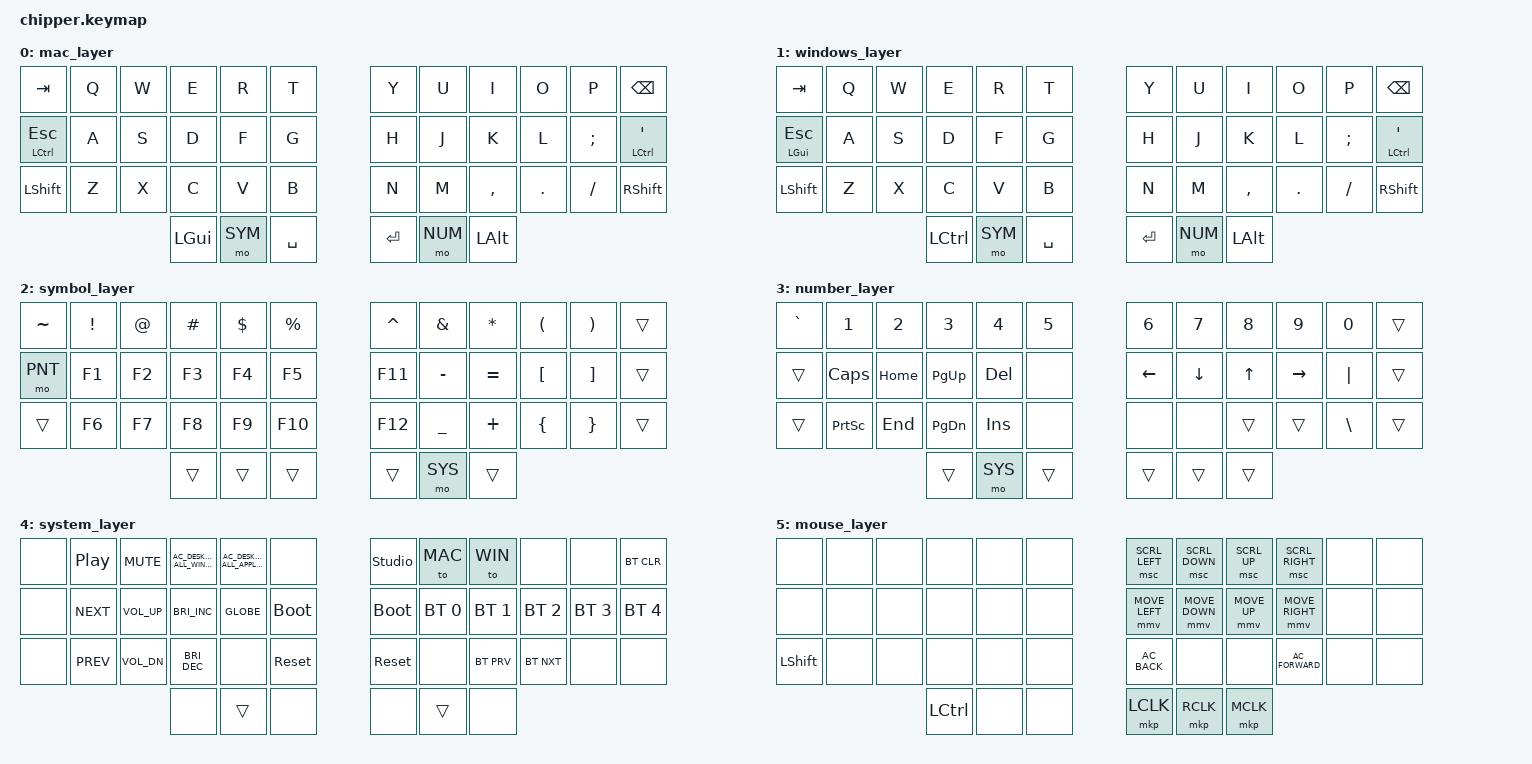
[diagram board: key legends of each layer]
#define ZMK_POINTING_DEFAULT_MOVE_VAL 1700 // default: 600
#define ZMK_POINTING_DEFAULT_SCRL_VAL 30  // default: 10

#include <behaviors.dtsi>
#include <dt-bindings/zmk/keys.h>
#include <dt-bindings/zmk/bt.h>        // bluetooth
#include <dt-bindings/zmk/pointing.h>  // mouse

#define MAC 0  // mac os
#define WIN 1  // windows os
#define SYM 2  // symbol & function
#define NUM 3  // number
#define SYS 4  // system such as media, bluetooth, bootloader, etc
#define PNT 5  // mouse

/ {
    combos {
        compatible = "zmk,combos";

        // One-handed SYS access. Combo-invoked behaviors always run on the
        // central half (combo.c hardcodes source = LOCAL), so reset/bootloader
        // must NOT be bound to combos directly. Instead the combo opens the
        // SYS layer (sticky, ~1s); the following real key press keeps its own
        // source, so &bootloader / &sys_reset run on the half it is pressed on:
        //    left : tap Q+C  then G = bootloader, B = sys_reset
        //    right: tap P+,  then H = bootloader, N = sys_reset
        // Right-half access still requires the halves to be paired; if pairing
        // is broken, use the physical RST button (double-tap) instead.

        combo_sys_left {  // Q + C
            timeout-ms = <50>;
            key-positions = <1 27>;
            bindings = <&sl SYS>;
            layers = <MAC WIN>;
            require-prior-idle-ms = <125>;
        };

        combo_sys_right {  // P + ,
            timeout-ms = <50>;
            key-positions = <10 32>;
            bindings = <&sl SYS>;
            layers = <MAC WIN>;
            require-prior-idle-ms = <125>;
        };
    };

    keymap {
        compatible = "zmk,keymap";

        mac_layer {  // MAC 0
            bindings = <
&kp TAB        &kp Q  &kp W  &kp E     &kp R    &kp T        &kp Y    &kp U    &kp I      &kp O    &kp P     &kp BSPC
&mt LCTRL ESC  &kp A  &kp S  &kp D     &kp F    &kp G        &kp H    &kp J    &kp K      &kp L    &kp SEMI  &mt LCTRL SQT
&kp LSHFT      &kp Z  &kp X  &kp C     &kp V    &kp B        &kp N    &kp M    &kp COMMA  &kp DOT  &kp FSLH  &kp RSHFT
                             &kp LGUI  &mo SYM  &kp SPACE    &kp RET  &mo NUM  &kp LALT
            >;
        };

        windows_layer {  // WIN 1
            bindings = <
&kp TAB       &kp Q  &kp W  &kp E      &kp R    &kp T        &kp Y    &kp U    &kp I      &kp O    &kp P     &kp BSPC
&mt LGUI ESC  &kp A  &kp S  &kp D      &kp F    &kp G        &kp H    &kp J    &kp K      &kp L    &kp SEMI  &mt LCTRL SQT
&kp LSHFT     &kp Z  &kp X  &kp C      &kp V    &kp B        &kp N    &kp M    &kp COMMA  &kp DOT  &kp FSLH  &kp RSHFT
                            &kp LCTRL  &mo SYM  &kp SPACE    &kp RET  &mo NUM  &kp LALT
            >;
        };

        symbol_layer {  // SYM 2
            bindings = <
&kp TILDE  &kp EXCL  &kp AT  &kp HASH  &kp DLLR  &kp PRCNT       &kp CARET  &kp AMPS   &kp ASTRK  &kp LPAR   &kp RPAR  &trans
&mo PNT    &kp F1    &kp F2  &kp F3    &kp F4    &kp F5          &kp F11    &kp MINUS  &kp EQUAL  &kp LBKT   &kp RBKT  &trans
&trans     &kp F6    &kp F7  &kp F8    &kp F9    &kp F10         &kp F12    &kp UNDER  &kp PLUS   &kp LBRC   &kp RBRC  &trans
                             &trans    &trans    &trans          &trans     &mo SYS    &trans
            >;
        };

        number_layer {  // NUM 3
            bindings = <
&kp GRAVE  &kp N1     &kp N2    &kp N3         &kp N4      &kp N5  &kp N6    &kp N7    &kp N8  &kp N9     &kp N0    &trans
&trans     &kp CAPS   &kp HOME  &kp PAGE_UP    &kp DELETE  &none   &kp LEFT  &kp DOWN  &kp UP  &kp RIGHT  &kp PIPE  &trans
&trans     &kp PSCRN  &kp END   &kp PAGE_DOWN  &kp INSERT  &none   &none     &none     &trans  &trans     &kp BSLH  &trans
                                &trans         &mo SYS     &trans  &trans    &trans    &trans
            >;
        };

        system_layer {  // SYS 4
            bindings = <
&none  &kp C_PP    &kp C_MUTE    &kp C_AC_DESKTOP_SHOW_ALL_WINDOWS  &kp C_AC_DESKTOP_SHOW_ALL_APPLICATIONS  &none        &studio_unlock  &to MAC       &to WIN       &none         &none         &bt BT_CLR
&none  &kp C_NEXT  &kp C_VOL_UP  &kp C_BRI_INC                      &kp GLOBE                               &bootloader  &bootloader     &bt BT_SEL 0  &bt BT_SEL 1  &bt BT_SEL 2  &bt BT_SEL 3  &bt BT_SEL 4
&none  &kp C_PREV  &kp C_VOL_DN  &kp C_BRI_DEC                      &none                                   &sys_reset   &sys_reset      &none         &bt BT_PRV    &bt BT_NXT    &none         &none
                                 &none                              &trans                                  &none        &none           &trans        &none
            >;
        };

        mouse_layer {  // PNT 5
            bindings = <
&none      &none  &none  &none      &none  &none    &msc SCRL_LEFT  &msc SCRL_DOWN  &msc SCRL_UP  &msc SCRL_RIGHT    &none  &none
&none      &none  &none  &none      &none  &none    &mmv MOVE_LEFT  &mmv MOVE_DOWN  &mmv MOVE_UP  &mmv MOVE_RIGHT    &none  &none
&kp LSHFT  &none  &none  &none      &none  &none    &kp C_AC_BACK   &none           &none         &kp C_AC_FORWARD   &none  &none
                         &kp LCTRL  &none  &none    &mkp LCLK       &mkp RCLK       &mkp MCLK
            >;
        };

        extra1 {
            status = "reserved";
        };

        extra2 {
            status = "reserved";
        };

        extra3 {
            status = "reserved";
        };
    };
};
